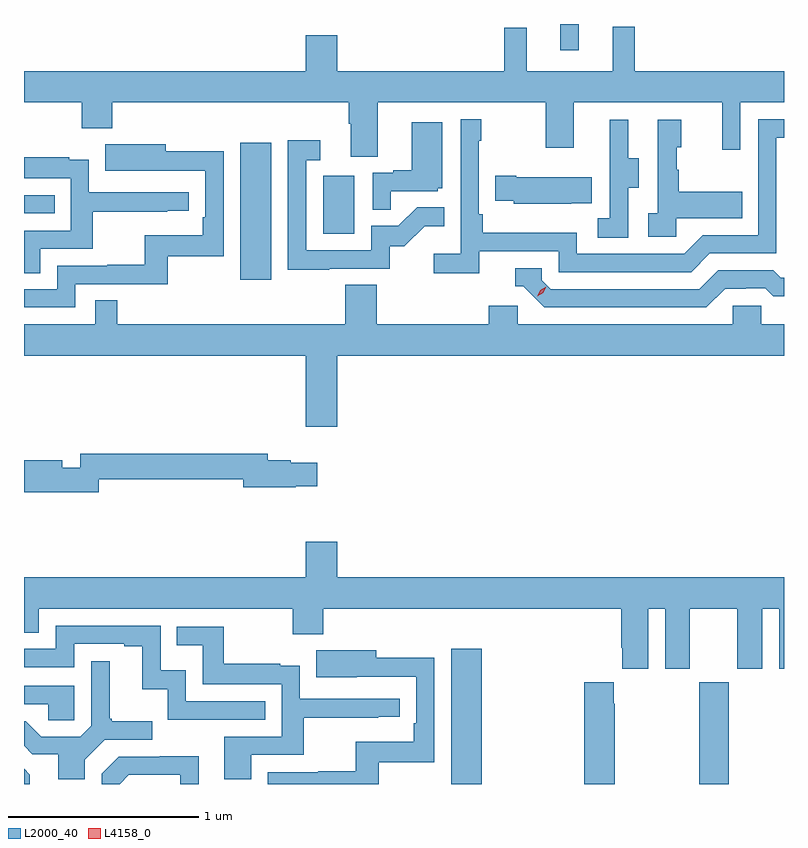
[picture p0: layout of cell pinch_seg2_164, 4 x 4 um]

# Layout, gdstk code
import gdstk
lib = gdstk.Library(unit=1e-6, precision=1e-09)
def R(c, l, rs):  # rectangles x0, y0, x1, y1
    for r in rs: c.add(gdstk.rectangle(r[:2], r[2:], *l))
def P(c, l, *ps):  # polygons
    for p in ps: c.add(gdstk.Polygon(p, *l))
L2000_40 = (2000, 40)
L4158_0 = (4158, 0)

pinch_seg2_164 = lib.new_cell('pinch_seg2_164')
R(pinch_seg2_164, L2000_40, [(1088.849,626.733,1089.01,627.445), (1090.153,626.733,1090.308,627.268), (1087.739,629.388,1087.9,630.109), (1088.174,629.628,1088.338,629.935), (1086.6,629.736,1086.761,629.832), (1089.423,630.594,1089.52,630.733)])
P(pinch_seg2_164, L2000_40, [(1088.461,630.32),(1089.346,630.32),(1089.346,630.081),(1089.493,630.081),(1089.493,630.32),(1090.274,630.32),(1090.274,630.072),(1090.371,630.072),(1090.371,630.32),(1090.6,630.32),(1090.6,630.484),(1089.815,630.484),(1089.815,630.718),(1089.698,630.718),(1089.698,630.484),(1089.245,630.484),(1089.245,630.712),(1089.127,630.712),(1089.127,630.484),(1088.248,630.484),(1088.248,630.673),(1088.084,630.673),(1088.084,630.484),(1086.6,630.484),(1086.6,630.32),(1086.904,630.32),(1086.904,630.185),(1087.064,630.185),(1087.064,630.32),(1088.309,630.32),(1088.309,630.208),(1088.321,630.208),(1088.321,630.034),(1088.461,630.034)],
  [(1088.996,629.538),(1089.414,629.538),(1089.414,629.427),(1090.111,629.427),(1090.21,629.526),(1090.56,629.526),(1090.56,630.135),(1090.6,630.135),(1090.6,630.231),(1090.464,630.231),(1090.464,629.622),(1090.173,629.622),(1090.074,629.523),(1089.51,629.523),(1089.51,629.635),(1089.014,629.635),(1089.014,629.731),(1088.994,629.731),(1088.994,630.119),(1089.007,630.119),(1089.007,630.232),(1088.898,630.232),(1088.898,629.524),(1088.757,629.524),(1088.757,629.422),(1088.996,629.422)],
  [(1090.032,629.711),(1090.379,629.711),(1090.379,629.851),(1090.045,629.851),(1090.045,629.966),(1090.035,629.966),(1090.035,630.084),(1090.06,630.084),(1090.06,630.229),(1089.936,630.229),(1089.936,629.738),(1089.885,629.738),(1089.885,629.613),(1090.032,629.613)],
  [(1089.78,629.872),(1089.835,629.872),(1089.835,630.027),(1089.781,630.027),(1089.781,630.229),(1089.683,630.229),(1089.683,630.015),(1089.684,630.015),(1089.684,629.711),(1089.621,629.711),(1089.621,629.608),(1089.78,629.608)],
  [(1088.531,629.853),(1088.778,629.853),(1088.778,629.868),(1088.8,629.868),(1088.8,630.217),(1088.642,630.217),(1088.642,629.962),(1088.543,629.962),(1088.543,629.949),(1088.436,629.949),(1088.436,629.755),(1088.531,629.755)],
  [(1088.207,629.445),(1088.526,629.445),(1088.526,629.562),(1088.602,629.562),(1088.709,629.669),(1088.813,629.669),(1088.813,629.768),(1088.669,629.768),(1088.571,629.67),(1088.427,629.67),(1088.427,629.541),(1088.085,629.541),(1088.085,630.015),(1088.158,630.015),(1088.158,630.121),(1087.989,630.121),(1087.989,629.44),(1088.207,629.44)],
  [(1086.87,629.364),(1087.357,629.364),(1087.357,629.511),(1087.65,629.511),(1087.65,630.062),(1087.345,630.062),(1087.345,630.1),(1087.027,630.1),(1087.027,629.96),(1087.241,629.96),(1087.241,629.961),(1087.554,629.961),(1087.554,629.716),(1087.541,629.716),(1087.541,629.62),(1087.236,629.62),(1087.236,629.465),(1087.039,629.465),(1087.039,629.46),(1086.774,629.46),(1086.774,629.337),(1086.6,629.337),(1086.6,629.241),(1086.87,629.241)],
  [(1086.685,629.55),(1086.962,629.55),(1086.962,629.746),(1087.355,629.746),(1087.355,629.751),(1087.468,629.751),(1087.468,629.847),(1086.942,629.847),(1086.942,630.019),(1086.839,630.019),(1086.839,630.031),(1086.6,630.031),(1086.6,629.922),(1086.846,629.922),(1086.846,629.646),(1086.6,629.646),(1086.6,629.422),(1086.685,629.422)],
  [(1089.479,629.789),(1089.587,629.789),(1089.587,629.926),(1089.19,629.926),(1089.19,629.934),(1089.079,629.934),(1089.079,629.804),(1089.177,629.804),(1089.177,629.786),(1089.479,629.786)],
  [(1090.291,629.34),(1090.398,629.34),(1090.398,629.343),(1090.501,629.343),(1090.543,629.301),(1090.6,629.301),(1090.6,629.397),(1090.582,629.397),(1090.543,629.436),(1090.254,629.436),(1090.155,629.337),(1089.372,629.337),(1089.324,629.385),(1089.324,629.448),(1089.185,629.448),(1089.185,629.352),(1089.228,629.352),(1089.339,629.241),(1090.192,629.241)],
  [(1088.248,628.988),(1090.6,628.988),(1090.6,629.152),(1090.479,629.152),(1090.479,629.25),(1090.329,629.25),(1090.329,629.152),(1089.198,629.152),(1089.198,629.25),(1089.047,629.25),(1089.047,629.152),(1088.456,629.152),(1088.456,629.36),(1088.291,629.36),(1088.291,629.152),(1087.091,629.152),(1087.091,629.279),(1086.975,629.279),(1086.975,629.152),(1086.6,629.152),(1086.6,628.988),(1088.084,628.988),(1088.084,628.614),(1088.248,628.614)],
  [(1086.993,628.336),(1087.754,628.336),(1087.754,628.294),(1088.03,628.294),(1088.03,628.301),(1088.143,628.301),(1088.143,628.423),(1088.004,628.423),(1088.004,628.436),(1087.882,628.436),(1087.882,628.472),(1086.897,628.472),(1086.897,628.397),(1086.802,628.397),(1086.802,628.436),(1086.6,628.436),(1086.6,628.269),(1086.993,628.269)],
  [(1089.886,627.656),(1089.974,627.656),(1089.974,627.339),(1090.105,627.339),(1090.105,627.656),(1090.355,627.656),(1090.355,627.339),(1090.486,627.339),(1090.486,627.656),(1090.574,627.656),(1090.574,627.339),(1090.6,627.339),(1090.6,627.82),(1088.248,627.82),(1088.248,628.009),(1088.084,628.009),(1088.084,627.82),(1086.6,627.82),(1086.6,627.529),(1086.678,627.529),(1086.678,627.656),(1088.014,627.656),(1088.014,627.521),(1088.174,627.521),(1088.174,627.656),(1089.743,627.656),(1089.743,627.451),(1089.749,627.451),(1089.749,627.339),(1089.886,627.339)],
  [(1087.871,627.168),(1087.452,627.168),(1087.452,627.331),(1087.32,627.331),(1087.32,627.567),(1086.768,627.567),(1086.768,627.444),(1086.6,627.444),(1086.6,627.348),(1086.864,627.348),(1086.864,627.471),(1087.127,627.471),(1087.127,627.459),(1087.223,627.459),(1087.223,627.233),(1087.356,627.233),(1087.356,627.072),(1087.871,627.072)],
  [(1087.795,626.886),(1088.072,626.886),(1088.072,627.082),(1088.465,627.082),(1088.465,627.087),(1088.578,627.087),(1088.578,627.183),(1088.052,627.183),(1088.052,627.355),(1087.949,627.355),(1087.949,627.367),(1087.651,627.367),(1087.651,627.561),(1087.405,627.561),(1087.405,627.464),(1087.54,627.464),(1087.54,627.258),(1087.956,627.258),(1087.956,626.982),(1087.655,626.982),(1087.655,626.758),(1087.795,626.758)],
  [(1088.467,626.847),(1088.76,626.847),(1088.76,627.398),(1088.455,627.398),(1088.455,627.436),(1088.137,627.436),(1088.137,627.296),(1088.351,627.296),(1088.351,627.297),(1088.664,627.297),(1088.664,627.052),(1088.651,627.052),(1088.651,626.956),(1088.346,626.956),(1088.346,626.801),(1088.149,626.801),(1088.149,626.796),(1087.884,626.796),(1087.884,626.733),(1088.467,626.733)],
  [(1086.919,626.86),(1087.026,626.967),(1087.276,626.967),(1087.276,627.064),(1087.063,627.064),(1087.063,627.076),(1087.051,627.076),(1087.051,627.379),(1086.954,627.379),(1086.954,627.039),(1086.897,626.982),(1086.691,626.982),(1086.61,627.063),(1086.6,627.063),(1086.6,626.934),(1086.644,626.89),(1086.779,626.89),(1086.779,626.758),(1086.919,626.758)],
  [(1089.708,627.155),(1089.703,627.155),(1089.703,627.268),(1089.548,627.268),(1089.548,626.733),(1089.708,626.733)],
  [(1086.864,627.249),(1086.6,627.249),(1086.6,627.153),(1086.727,627.153),(1086.727,627.069),(1086.864,627.069)],
  [(1087.152,626.781),(1087.422,626.781),(1087.422,626.733),(1087.519,626.733),(1087.519,626.879),(1087.314,626.879),(1087.314,626.877),(1087.098,626.877),(1087.008,626.787),(1087.008,626.733),(1087.104,626.733)],
  [(1086.631,626.783),(1086.6,626.814),(1086.6,626.733),(1086.631,626.733)])
P(pinch_seg2_164, L4158_0, [(1089.301,629.299),(1089.301,629.299),(1089.317,629.331),(1089.348,629.351),(1089.348,629.351),(1089.348,629.35),(1089.332,629.318),(1089.301,629.299)])

lib.write_gds('pinch_seg2_164.gds')
